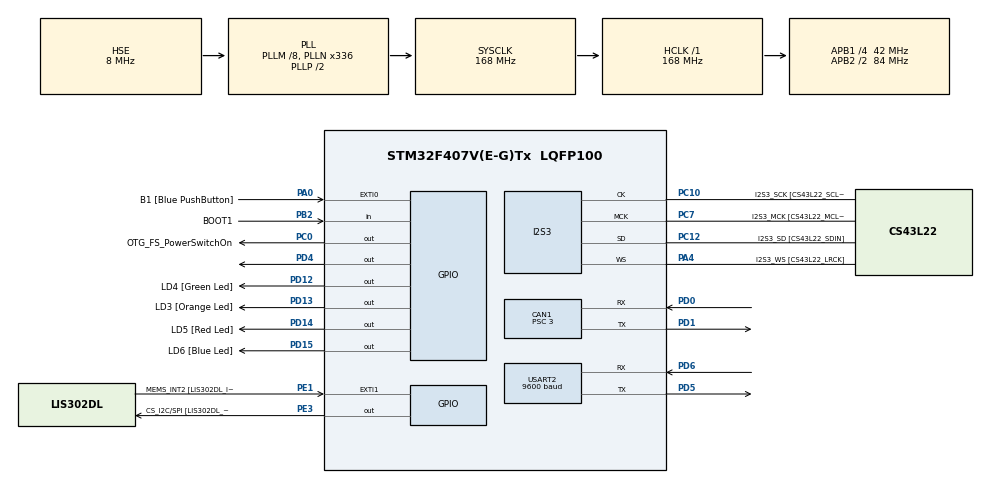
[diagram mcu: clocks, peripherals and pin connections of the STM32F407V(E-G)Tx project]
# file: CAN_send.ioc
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CAN1.BS1=CAN_BS1_10TQ
CAN1.BS2=CAN_BS2_3TQ
CAN1.CalculateBaudRate=1000000
CAN1.CalculateTimeBit=1000
CAN1.CalculateTimeQuantum=71.42857142857143
CAN1.Prescaler=3
I2S3.AudioFreq-Half_Duplex_Master=I2S_AUDIOFREQ_96K
I2S3.ErrorAudioFreq=-2.34 %
I2S3.ErrorAudioFreq-Half_Duplex_Master=0.8 %
I2S3.FullDuplexMode=I2S_FULLDUPLEXMODE_DISABLE
I2S3.Instance=SPI$Index
I2S3.RealAudioFreq=93.75 KHz
I2S3.RealAudioFreq-Half_Duplex_Master=96.774 KHz
I2S3.VirtualMode=I2S_MODE_MASTER
Mcu.Family=STM32F4
Mcu.Name=STM32F407V(E-G)Tx
Mcu.Package=LQFP100
NVIC.CAN1_RX0_IRQn=true\:0\:0\:false\:false\:true\:true\:true\:true
NVIC.CAN1_RX1_IRQn=true\:0\:0\:false\:false\:true\:true\:true\:true
NVIC.CAN1_TX_IRQn=true\:0\:0\:false\:false\:true\:true\:true\:true
NVIC.PriorityGroup=NVIC_PRIORITYGROUP_0
NVIC.USART2_IRQn=true\:0\:0\:false\:false\:true\:true\:true\:true
PA0-WKUP.GPIO_Label=B1 [Blue PushButton]
PA0-WKUP.GPIO_ModeDefaultEXTI=GPIO_MODE_EVT_RISING
PA0-WKUP.GPIO_PuPd=GPIO_NOPULL
PA0-WKUP.Signal=GPXTI0
PA10.GPIO_Label=OTG_FS_ID
PA10.GPIO_Mode=GPIO_MODE_AF_PP
PA10.GPIO_PuPd=GPIO_NOPULL
PA10.GPIO_Speed=GPIO_SPEED_FREQ_LOW
PA10.Signal=USB_OTG_FS_ID
PA11.GPIO_Label=OTG_FS_DM
PA11.GPIO_Mode=GPIO_MODE_AF_PP
PA11.GPIO_PuPd=GPIO_NOPULL
PA11.GPIO_Speed=GPIO_SPEED_FREQ_LOW
PA11.Signal=USB_OTG_FS_DM
PA12.GPIO_Label=OTG_FS_DP
PA12.GPIO_Mode=GPIO_MODE_AF_PP
PA12.GPIO_PuPd=GPIO_NOPULL
PA12.GPIO_Speed=GPIO_SPEED_FREQ_LOW
PA12.Signal=USB_OTG_FS_DP
PA13.GPIO_Label=SWDIO
PA13.Mode=Serial_Wire
PA13.Signal=SYS_JTMS-SWDIO
PA14.GPIO_Label=SWCLK
PA14.Mode=Serial_Wire
PA14.Signal=SYS_JTCK-SWCLK
PA4.GPIO_Label=I2S3_WS [CS43L22_LRCK]
PA4.GPIO_Mode=GPIO_MODE_AF_PP
PA4.GPIO_PuPd=GPIO_NOPULL
PA4.GPIO_Speed=GPIO_SPEED_FREQ_LOW
PA4.Mode=Half_Duplex_Master
PA4.Signal=I2S3_WS
PA5.GPIO_Label=SPI1_SCK [LIS302DL_SCL/SPC]
PA5.GPIO_Mode=GPIO_MODE_AF_PP
PA5.GPIO_PuPd=GPIO_NOPULL
PA5.GPIO_Speed=GPIO_SPEED_FREQ_LOW
PA5.Signal=SPI1_SCK
PA6.GPIO_Label=SPI1_MISO [LIS302DL_SDO]
PA6.GPIO_Mode=GPIO_MODE_AF_PP
PA6.GPIO_PuPd=GPIO_NOPULL
PA6.GPIO_Speed=GPIO_SPEED_FREQ_LOW
PA6.Signal=SPI1_MISO
PA7.GPIO_Label=SPI1_MOSI [LIS302DL_SDA/SDI/SDO]
PA7.GPIO_Mode=GPIO_MODE_AF_PP
PA7.GPIO_PuPd=GPIO_NOPULL
PA7.GPIO_Speed=GPIO_SPEED_FREQ_LOW
PA7.Signal=SPI1_MOSI
PA9.GPIO_Label=VBUS_FS
PA9.GPIO_Mode=GPIO_MODE_INPUT
PA9.GPIO_PuPd=GPIO_NOPULL
PA9.Signal=USB_OTG_FS_VBUS
PB10.GPIO_Label=CLK_IN [MP45DT02_CLK]
PB10.GPIO_Mode=GPIO_MODE_AF_PP
PB10.GPIO_PuPd=GPIO_NOPULL
PB10.GPIO_Speed=GPIO_SPEED_FREQ_LOW
PB10.Signal=I2S2_CK
PB2.GPIO_Label=BOOT1
PB2.GPIO_Mode=GPIO_MODE_INPUT
PB2.GPIO_PuPd=GPIO_NOPULL
PB2.Signal=GPIO_Input
PB3.GPIO_Label=SWO
PB3.Signal=SYS_JTDO-SWO
PB6.GPIO_Label=Audio_SCL [CS43L22_SCL]
PB6.GPIO_Mode=GPIO_MODE_AF_OD
PB6.GPIO_Pu=GPIO_PULLUP
PB6.GPIO_PuPd=GPIO_NOPULL
PB6.GPIO_Speed=GPIO_SPEED_FREQ_LOW
PB6.Signal=I2C1_SCL
PB9.GPIO_Label=Audio_SDA [CS43L22_SDA]
PB9.GPIO_Mode=GPIO_MODE_AF_OD
PB9.GPIO_Pu=GPIO_PULLUP
PB9.GPIO_PuPd=GPIO_NOPULL
PB9.GPIO_Speed=GPIO_SPEED_FREQ_LOW
PB9.Signal=I2C1_SDA
PC0.GPIO_Label=OTG_FS_PowerSwitchOn
PC0.GPIO_PuPd=GPIO_NOPULL
PC0.GPIO_Speed=GPIO_SPEED_FREQ_LOW
PC0.PinState=GPIO_PIN_SET
PC0.Signal=GPIO_Output
PC10.GPIO_Label=I2S3_SCK [CS43L22_SCLK]
PC10.GPIO_Mode=GPIO_MODE_AF_PP
PC10.GPIO_PuPd=GPIO_NOPULL
PC10.GPIO_Speed=GPIO_SPEED_FREQ_LOW
PC10.Mode=Half_Duplex_Master
PC10.Signal=I2S3_CK
PC12.GPIO_Label=I2S3_SD [CS43L22_SDIN]
PC12.GPIO_Mode=GPIO_MODE_AF_PP
PC12.GPIO_PuPd=GPIO_NOPULL
PC12.GPIO_Speed=GPIO_SPEED_FREQ_LOW
PC12.Mode=Half_Duplex_Master
PC12.Signal=I2S3_SD
PC14-OSC32_IN.GPIO_Label=PC14-OSC32_IN
PC14-OSC32_IN.Mode=LSE-External-Oscillator
PC14-OSC32_IN.Signal=RCC_OSC32_IN
PC15-OSC32_OUT.GPIO_Label=PC15-OSC32_OUT
PC15-OSC32_OUT.Mode=LSE-External-Oscillator
PC15-OSC32_OUT.Signal=RCC_OSC32_OUT
PC3.GPIO_Label=PDM_OUT [MP45DT02_DOUT]
PC3.GPIO_Mode=GPIO_MODE_AF_PP
PC3.GPIO_PuPd=GPIO_NOPULL
PC3.GPIO_Speed=GPIO_SPEED_FREQ_LOW
PC3.Signal=I2S2_SD
PC7.GPIO_Label=I2S3_MCK [CS43L22_MCLK]
PC7.GPIO_Mode=GPIO_MODE_AF_PP
PC7.GPIO_PuPd=GPIO_NOPULL
PC7.GPIO_Speed=GPIO_SPEED_FREQ_LOW
PC7.Mode=Master_Clock_Activated
PC7.Signal=I2S3_MCK
PD0.Mode=CAN_Activate
PD0.Signal=CAN1_RX
PD1.Mode=CAN_Activate
PD1.Signal=CAN1_TX
PD12.GPIO_Label=LD4 [Green Led]
PD12.GPIO_PuPd=GPIO_NOPULL
PD12.GPIO_Speed=GPIO_SPEED_FREQ_LOW
PD12.Signal=GPIO_Output
PD13.GPIO_Label=LD3 [Orange Led]
PD13.GPIO_PuPd=GPIO_NOPULL
PD13.GPIO_Speed=GPIO_SPEED_FREQ_LOW
PD13.Signal=GPIO_Output
PD14.GPIO_Label=LD5 [Red Led]
PD14.GPIO_PuPd=GPIO_NOPULL
PD14.GPIO_Speed=GPIO_SPEED_FREQ_LOW
PD14.Signal=GPIO_Output
PD15.GPIO_Label=LD6 [Blue Led]
PD15.GPIO_PuPd=GPIO_NOPULL
PD15.GPIO_Speed=GPIO_SPEED_FREQ_LOW
PD15.Signal=GPIO_Output
PD4.Signal=GPIO_Output
PD5.Mode=Asynchronous
PD5.Signal=USART2_TX
PD6.Mode=Asynchronous
PD6.Signal=USART2_RX
PE1.GPIO_Label=MEMS_INT2 [LIS302DL_INT2]
PE1.GPIO_ModeDefaultEXTI=GPIO_MODE_EVT_RISING
PE1.GPIO_PuPd=GPIO_NOPULL
PE1.Signal=GPXTI1
PE3.GPIO_Label=CS_I2C/SPI [LIS302DL_CS_I2C/SPI]
PE3.GPIO_PuPd=GPIO_NOPULL
PE3.GPIO_Speed=GPIO_SPEED_FREQ_LOW
PE3.Signal=GPIO_Output
PH0-OSC_IN.GPIO_Label=PH0-OSC_IN
PH0-OSC_IN.Mode=HSE-External-Oscillator
PH0-OSC_IN.Signal=RCC_OSC_IN
PH1-OSC_OUT.GPIO_Label=PH1-OSC_OUT
PH1-OSC_OUT.Mode=HSE-External-Oscillator
PH1-OSC_OUT.Signal=RCC_OSC_OUT
ProjectManager.HeapSize=0x200
ProjectManager.StackSize=0x400
ProjectManager.TargetToolchain=STM32CubeIDE
RCC.48MHZClocksFreq_Value=48000000
RCC.AHBFreq_Value=168000000
RCC.APB1CLKDivider=RCC_HCLK_DIV4
RCC.APB1Freq_Value=42000000
RCC.APB1TimFreq_Value=84000000
RCC.APB2CLKDivider=RCC_HCLK_DIV2
RCC.APB2Freq_Value=84000000
RCC.APB2TimFreq_Value=168000000
RCC.CortexFreq_Value=168000000
RCC.HCLKFreq_Value=168000000
RCC.HSE_VALUE=8000000
RCC.HSI_VALUE=16000000
RCC.PLLM=8
RCC.PLLN=336
RCC.PLLQ=7
RCC.PLLSourceVirtual=RCC_PLLSOURCE_HSE
RCC.SYSCLKFreq_VALUE=168000000
RCC.SYSCLKSource=RCC_SYSCLKSOURCE_PLLCLK
RCC.VCOOutputFreq_Value=336000000
USART2.BaudRate=9600
USART2.VirtualMode=VM_ASYNC
board=STM32F407G-DISC1

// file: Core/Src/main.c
/* USER CODE BEGIN Header */
/**
  ******************************************************************************
	Author: Phạm Văn Nam
	Started date: 17-06-2025
  ******************************************************************************
  */
/* USER CODE END Header */
#include "main.h"
#include "stdio.h"
#include "string.h"

/* USER CODE BEGIN PD */
// --- Cấu hình các frame trong CAN-TP ---
#define PCI_TYPE_SF 0x00
#define PCI_TYPE_FF 0x10
#define PCI_TYPE_CF 0x20
#define PCI_TYPE_FC 0x30
/* USER CODE END PD */

CAN_HandleTypeDef hcan1;

I2S_HandleTypeDef hi2s3;

UART_HandleTypeDef huart2;

/* USER CODE BEGIN PV */

static uint32_t g_wait_fc_start_tick = 0;

// --- CAN-TP Sender State Machine ---
typedef enum {
	TP_SENDER_IDLE,
	TP_SENDER_WAIT_FC,
	TP_SENDER_SEND
} TP_Sender_State_t;

volatile TP_Sender_State_t sender_state = TP_SENDER_IDLE;

// --- Cấu hình CAN ---
static uint32_t g_tx_mailbox;
static CAN_TxHeaderTypeDef g_tx_header = {
    .DLC = 8,
    .IDE = CAN_ID_STD,
    .RTR = CAN_RTR_DATA,
    .StdId = 0x123
};
#define CAN_TP_FC_RECEIVE_ID 0x125 // ID để nhận Flow Control

// --- Buffer và cờ báo từ UART ---
uint8_t g_uart_rx_byte = 0;
uint8_t g_uart_data_buffer[128];
uint16_t g_uart_data_len = 0;
volatile uint8_t g_uart_data_ready = 0;

// --- Quản lý dữ liệu và trạng thái phiên gửi ---
static uint8_t g_tp_data_to_send[128];
static uint16_t g_tp_total_len = 0;
static uint16_t g_tp_sent_index = 0;
static uint8_t  g_tp_seq_num = 0;

// --- Thông số Flow Control nhận được ---
static uint8_t  g_fc_block_size = 0;
static uint8_t  g_fc_st_min = 0;
static uint32_t g_last_cf_sent_tick = 0;
static uint8_t  g_cf_sent_in_block = 0;

/* USER CODE END PV */

void SystemClock_Config(void);
static void MX_GPIO_Init(void);
static void MX_I2S3_Init(void);
static void MX_CAN1_Init(void);
static void MX_USART2_UART_Init(void);

/* USER CODE BEGIN 0 */

// --- Các hàm helper để gửi frame ---
void print_frame(const char* label, uint8_t* frame, uint8_t len) {
    char msg[100];
    int offset = snprintf(msg, sizeof(msg), "%s (len=%u): ", label, len);
    for (uint8_t i = 0; i < len; i++) {
        offset += snprintf(msg + offset, sizeof(msg) - offset, "%02X ", frame[i]);
    }
    strncat(msg, "\r\n", sizeof(msg) - strlen(msg) - 1);
    HAL_UART_Transmit(&huart2, (uint8_t*)msg, strlen(msg), 100);
}

void can_tp_send_frame(uint8_t* data, uint8_t dlc) {
    g_tx_header.DLC = dlc;
    // Luôn kiểm tra kết quả trả v�? khi gửi CAN
    if (HAL_CAN_AddTxMessage(&hcan1, &g_tx_header, data, &g_tx_mailbox) != HAL_OK) {

    }
}

// --- Hàm quản lý State Machine chính ---
void can_tp_manager(void) {
    switch (sender_state) {
        case TP_SENDER_IDLE:
            // Nếu có dữ liệu mới từ UART và đang ở trạng thái nghỉ
            if (g_uart_data_ready) {
                // 1. Xóa c�? và copy dữ liệu để xử lý
                g_uart_data_ready = 0;
                memcpy(g_tp_data_to_send, g_uart_data_buffer, g_uart_data_len);
                g_tp_total_len = g_uart_data_len;

                // 2. Quyết định gửi SF hay FF
                if (g_tp_total_len <= 7) {
                    // --- Gửi Single Frame (SF) ---
                    uint8_t frame[8] = {0};
                    frame[0] = PCI_TYPE_SF | (g_tp_total_len & 0x0F);
                    memcpy(&frame[1], g_tp_data_to_send, g_tp_total_len);
                    print_frame("TX SF", frame, g_tp_total_len + 1);
                    can_tp_send_frame(frame, g_tp_total_len + 1);
                    // Gửi xong, vẫn ở trạng thái IDLE
                } else {
                    // --- Gửi First Frame (FF) ---
                    uint8_t frame[8] = {0};
                    frame[0] = PCI_TYPE_FF | ((g_tp_total_len >> 8) & 0x0F);
                    frame[1] = g_tp_total_len & 0xFF;
                    memcpy(&frame[2], g_tp_data_to_send, 6);
                    print_frame("TX FF", frame, 8);
                    can_tp_send_frame(frame, 8);

                    // 3. Cập nhật state và các biến cho phiên gửi
                    g_tp_sent_index = 6;
                    g_tp_seq_num = 1;
                    sender_state = TP_SENDER_WAIT_FC;
                    g_wait_fc_start_tick = HAL_GetTick(); // Bắt đầu đếm th�?i gian ch�? FC
                }
                g_uart_data_len = 0; // chỉ reset sau khi copy
            }
            break;

        case TP_SENDER_WAIT_FC:
            // Kiểm tra timeout cho FC
            if (HAL_GetTick() - g_wait_fc_start_tick >= 5000) {
                HAL_UART_Transmit(&huart2, (uint8_t*)"Timeout: Don't receive FC frame. \r\n", 36, 100);
                sender_state = TP_SENDER_IDLE; // Quay lại trạng thái nghỉ
            }
            break;

        case TP_SENDER_SEND:
        {
            // 1. Kiểm tra Separation Time (STmin)
            uint32_t st_min_ms = g_fc_st_min;
            if (st_min_ms > 0 && (HAL_GetTick() - g_last_cf_sent_tick < st_min_ms)) {
                return;
            }

            // 2. Kiểm tra Block Size (BS)
            if (g_fc_block_size > 0 && g_cf_sent_in_block >= g_fc_block_size) {
                // �?ã gửi hết block, phải ch�? FC tiếp theo
                sender_state = TP_SENDER_WAIT_FC;
                return;
            }

            // 3. Chuẩn bị và gửi CF
            uint16_t remaining = g_tp_total_len - g_tp_sent_index;
            if (remaining > 0) {
                uint8_t chunk_size = (remaining < 7) ? remaining : 7;
                uint8_t frame[8] = {0};
                frame[0] = PCI_TYPE_CF | (g_tp_seq_num & 0x0F);
                memcpy(&frame[1], &g_tp_data_to_send[g_tp_sent_index], chunk_size);

                char label[16];
                snprintf(label, sizeof(label), "TX CF [%d]", g_tp_seq_num);
                print_frame(label, frame, chunk_size + 1);
                can_tp_send_frame(frame, chunk_size + 1);

                // 4. Cập nhật các biến trạng thái
                g_last_cf_sent_tick = HAL_GetTick();
                g_tp_sent_index += chunk_size;
                g_tp_seq_num = (g_tp_seq_num + 1) % 16;
                g_cf_sent_in_block++;
            }

            // 5. Kiểm tra nếu đã gửi xong toàn bộ tin nhắn
            if (g_tp_sent_index >= g_tp_total_len) {
                HAL_UART_Transmit(&huart2, (uint8_t*)"TP Send Complete\r\n", 18, 100);
                sender_state = TP_SENDER_IDLE; // Quay lại trạng thái nghỉ
            }
            break;
        }
    }
}
/* USER CODE END 0 */

int main(void)
{

  /* MCU Configuration--------------------------------------------------------*/

  /* Reset of all peripherals, Initializes the Flash interface and the Systick. */
  HAL_Init();

  /* Configure the system clock */
  SystemClock_Config();

  /* Initialize all configured peripherals */
  MX_GPIO_Init();
  MX_I2S3_Init();
  MX_CAN1_Init();
  MX_USART2_UART_Init();
  /* USER CODE BEGIN 2 */
  CAN_FilterTypeDef filter_config = {
         .FilterBank = 0,
         .FilterMode = CAN_FILTERMODE_IDMASK,
         .FilterScale = CAN_FILTERSCALE_32BIT,
		 .FilterIdHigh = 0x0000,
		 .FilterIdLow = 0x0000,
		 .FilterMaskIdHigh = 0x0000,
		 .FilterMaskIdLow = 0x0000,
         .FilterFIFOAssignment = CAN_FILTER_FIFO0,
         .FilterActivation = ENABLE,
         .SlaveStartFilterBank = 14
     };

     if (HAL_CAN_ConfigFilter(&hcan1, &filter_config) != HAL_OK) {
         Error_Handler();
     }

     // 4. Bật CAN và kích hoạt ngắt FIFO0
     if (HAL_CAN_Start(&hcan1) != HAL_OK) {
         Error_Handler();
     }

     if (HAL_CAN_ActivateNotification(&hcan1, CAN_IT_RX_FIFO0_MSG_PENDING) != HAL_OK) {
         Error_Handler();
     }

     // 5. Bắt đầu nhận UART3 từng byte (gửi lệnh điều khiển)
     HAL_UART_Receive_IT(&huart2, &g_uart_rx_byte, 1);

  /* USER CODE END 2 */

  /* Infinite loop */
  /* USER CODE BEGIN WHILE */
  while (1)
  {
    // Hàm quản lý state machine sẽ được g�?i liên tục
    can_tp_manager();
    /* USER CODE END WHILE */

  }
}

void SystemClock_Config(void)
{
  RCC_OscInitTypeDef RCC_OscInitStruct = {0};
  RCC_ClkInitTypeDef RCC_ClkInitStruct = {0};

  /** Configure the main internal regulator output voltage
  */
  __HAL_RCC_PWR_CLK_ENABLE();
  __HAL_PWR_VOLTAGESCALING_CONFIG(PWR_REGULATOR_VOLTAGE_SCALE1);

  /** Initializes the RCC Oscillators according to the specified parameters
  * in the RCC_OscInitTypeDef structure.
  */
  RCC_OscInitStruct.OscillatorType = RCC_OSCILLATORTYPE_HSE;
  RCC_OscInitStruct.HSEState = RCC_HSE_ON;
  RCC_OscInitStruct.PLL.PLLState = RCC_PLL_ON;
  RCC_OscInitStruct.PLL.PLLSource = RCC_PLLSOURCE_HSE;
  RCC_OscInitStruct.PLL.PLLM = 8;
  RCC_OscInitStruct.PLL.PLLN = 336;
  RCC_OscInitStruct.PLL.PLLP = RCC_PLLP_DIV2;
  RCC_OscInitStruct.PLL.PLLQ = 7;
  if (HAL_RCC_OscConfig(&RCC_OscInitStruct) != HAL_OK)
  {
    Error_Handler();
  }

  /** Initializes the CPU, AHB and APB buses clocks
  */
  RCC_ClkInitStruct.ClockType = RCC_CLOCKTYPE_HCLK|RCC_CLOCKTYPE_SYSCLK
                              |RCC_CLOCKTYPE_PCLK1|RCC_CLOCKTYPE_PCLK2;
  RCC_ClkInitStruct.SYSCLKSource = RCC_SYSCLKSOURCE_PLLCLK;
  RCC_ClkInitStruct.AHBCLKDivider = RCC_SYSCLK_DIV1;
  RCC_ClkInitStruct.APB1CLKDivider = RCC_HCLK_DIV4;
  RCC_ClkInitStruct.APB2CLKDivider = RCC_HCLK_DIV2;

  if (HAL_RCC_ClockConfig(&RCC_ClkInitStruct, FLASH_LATENCY_5) != HAL_OK)
  {
    Error_Handler();
  }
}

static void MX_CAN1_Init(void)
{

  hcan1.Instance = CAN1;
  hcan1.Init.Prescaler = 3;
  hcan1.Init.Mode = CAN_MODE_NORMAL;
  hcan1.Init.SyncJumpWidth = CAN_SJW_1TQ;
  hcan1.Init.TimeSeg1 = CAN_BS1_10TQ;
  hcan1.Init.TimeSeg2 = CAN_BS2_3TQ;
  hcan1.Init.TimeTriggeredMode = DISABLE;
  hcan1.Init.AutoBusOff = DISABLE;
  hcan1.Init.AutoWakeUp = DISABLE;
  hcan1.Init.AutoRetransmission = DISABLE;
  hcan1.Init.ReceiveFifoLocked = DISABLE;
  hcan1.Init.TransmitFifoPriority = DISABLE;
  if (HAL_CAN_Init(&hcan1) != HAL_OK)
  {
    Error_Handler();
  }

}

static void MX_I2S3_Init(void)
{

  hi2s3.Instance = SPI3;
  hi2s3.Init.Mode = I2S_MODE_MASTER_TX;
  hi2s3.Init.Standard = I2S_STANDARD_PHILIPS;
  hi2s3.Init.DataFormat = I2S_DATAFORMAT_16B;
  hi2s3.Init.MCLKOutput = I2S_MCLKOUTPUT_ENABLE;
  hi2s3.Init.AudioFreq = I2S_AUDIOFREQ_96K;
  hi2s3.Init.CPOL = I2S_CPOL_LOW;
  hi2s3.Init.ClockSource = I2S_CLOCK_PLL;
  hi2s3.Init.FullDuplexMode = I2S_FULLDUPLEXMODE_DISABLE;
  if (HAL_I2S_Init(&hi2s3) != HAL_OK)
  {
    Error_Handler();
  }

}

static void MX_USART2_UART_Init(void)
{

  huart2.Instance = USART2;
  huart2.Init.BaudRate = 9600;
  huart2.Init.WordLength = UART_WORDLENGTH_8B;
  huart2.Init.StopBits = UART_STOPBITS_1;
  huart2.Init.Parity = UART_PARITY_NONE;
  huart2.Init.Mode = UART_MODE_TX_RX;
  huart2.Init.HwFlowCtl = UART_HWCONTROL_NONE;
  huart2.Init.OverSampling = UART_OVERSAMPLING_16;
  if (HAL_UART_Init(&huart2) != HAL_OK)
  {
    Error_Handler();
  }

}

static void MX_GPIO_Init(void)
{
  GPIO_InitTypeDef GPIO_InitStruct = {0};

  /* GPIO Ports Clock Enable */
  __HAL_RCC_GPIOE_CLK_ENABLE();
  __HAL_RCC_GPIOC_CLK_ENABLE();
  __HAL_RCC_GPIOH_CLK_ENABLE();
  __HAL_RCC_GPIOA_CLK_ENABLE();
  __HAL_RCC_GPIOB_CLK_ENABLE();
  __HAL_RCC_GPIOD_CLK_ENABLE();

  /*Configure GPIO pin Output Level */
  HAL_GPIO_WritePin(CS_I2C_SPI_GPIO_Port, CS_I2C_SPI_Pin, GPIO_PIN_RESET);

  /*Configure GPIO pin Output Level */
  HAL_GPIO_WritePin(OTG_FS_PowerSwitchOn_GPIO_Port, OTG_FS_PowerSwitchOn_Pin, GPIO_PIN_SET);

  /*Configure GPIO pin Output Level */
  HAL_GPIO_WritePin(GPIOD, LD4_Pin|LD3_Pin|LD5_Pin|LD6_Pin
                          |GPIO_PIN_4, GPIO_PIN_RESET);

  /*Configure GPIO pin : CS_I2C_SPI_Pin */
  GPIO_InitStruct.Pin = CS_I2C_SPI_Pin;
  GPIO_InitStruct.Mode = GPIO_MODE_OUTPUT_PP;
  GPIO_InitStruct.Pull = GPIO_NOPULL;
  GPIO_InitStruct.Speed = GPIO_SPEED_FREQ_LOW;
  HAL_GPIO_Init(CS_I2C_SPI_GPIO_Port, &GPIO_InitStruct);

  /*Configure GPIO pin : OTG_FS_PowerSwitchOn_Pin */
  GPIO_InitStruct.Pin = OTG_FS_PowerSwitchOn_Pin;
  GPIO_InitStruct.Mode = GPIO_MODE_OUTPUT_PP;
  GPIO_InitStruct.Pull = GPIO_NOPULL;
  GPIO_InitStruct.Speed = GPIO_SPEED_FREQ_LOW;
  HAL_GPIO_Init(OTG_FS_PowerSwitchOn_GPIO_Port, &GPIO_InitStruct);

  /*Configure GPIO pin : PDM_OUT_Pin */
  GPIO_InitStruct.Pin = PDM_OUT_Pin;
  GPIO_InitStruct.Mode = GPIO_MODE_AF_PP;
  GPIO_InitStruct.Pull = GPIO_NOPULL;
  GPIO_InitStruct.Speed = GPIO_SPEED_FREQ_LOW;
  GPIO_InitStruct.Alternate = GPIO_AF5_SPI2;
  HAL_GPIO_Init(PDM_OUT_GPIO_Port, &GPIO_InitStruct);

  /*Configure GPIO pin : B1_Pin */
  GPIO_InitStruct.Pin = B1_Pin;
  GPIO_InitStruct.Mode = GPIO_MODE_EVT_RISING;
  GPIO_InitStruct.Pull = GPIO_NOPULL;
  HAL_GPIO_Init(B1_GPIO_Port, &GPIO_InitStruct);

  /*Configure GPIO pins : SPI1_SCK_Pin SPI1_MISO_Pin SPI1_MOSI_Pin */
  GPIO_InitStruct.Pin = SPI1_SCK_Pin|SPI1_MISO_Pin|SPI1_MOSI_Pin;
  GPIO_InitStruct.Mode = GPIO_MODE_AF_PP;
  GPIO_InitStruct.Pull = GPIO_NOPULL;
  GPIO_InitStruct.Speed = GPIO_SPEED_FREQ_LOW;
  GPIO_InitStruct.Alternate = GPIO_AF5_SPI1;
  HAL_GPIO_Init(GPIOA, &GPIO_InitStruct);

  /*Configure GPIO pin : BOOT1_Pin */
  GPIO_InitStruct.Pin = BOOT1_Pin;
  GPIO_InitStruct.Mode = GPIO_MODE_INPUT;
  GPIO_InitStruct.Pull = GPIO_NOPULL;
  HAL_GPIO_Init(BOOT1_GPIO_Port, &GPIO_InitStruct);

  /*Configure GPIO pin : CLK_IN_Pin */
  GPIO_InitStruct.Pin = CLK_IN_Pin;
  GPIO_InitStruct.Mode = GPIO_MODE_AF_PP;
  GPIO_InitStruct.Pull = GPIO_NOPULL;
  GPIO_InitStruct.Speed = GPIO_SPEED_FREQ_LOW;
  GPIO_InitStruct.Alternate = GPIO_AF5_SPI2;
  HAL_GPIO_Init(CLK_IN_GPIO_Port, &GPIO_InitStruct);

  /*Configure GPIO pins : LD4_Pin LD3_Pin LD5_Pin LD6_Pin
                           PD4 */
  GPIO_InitStruct.Pin = LD4_Pin|LD3_Pin|LD5_Pin|LD6_Pin
                          |GPIO_PIN_4;
  GPIO_InitStruct.Mode = GPIO_MODE_OUTPUT_PP;
  GPIO_InitStruct.Pull = GPIO_NOPULL;
  GPIO_InitStruct.Speed = GPIO_SPEED_FREQ_LOW;
  HAL_GPIO_Init(GPIOD, &GPIO_InitStruct);

  /*Configure GPIO pin : VBUS_FS_Pin */
  GPIO_InitStruct.Pin = VBUS_FS_Pin;
  GPIO_InitStruct.Mode = GPIO_MODE_INPUT;
  GPIO_InitStruct.Pull = GPIO_NOPULL;
  HAL_GPIO_Init(VBUS_FS_GPIO_Port, &GPIO_InitStruct);

  /*Configure GPIO pins : OTG_FS_ID_Pin OTG_FS_DM_Pin OTG_FS_DP_Pin */
  GPIO_InitStruct.Pin = OTG_FS_ID_Pin|OTG_FS_DM_Pin|OTG_FS_DP_Pin;
  GPIO_InitStruct.Mode = GPIO_MODE_AF_PP;
  GPIO_InitStruct.Pull = GPIO_NOPULL;
  GPIO_InitStruct.Speed = GPIO_SPEED_FREQ_LOW;
  GPIO_InitStruct.Alternate = GPIO_AF10_OTG_FS;
  HAL_GPIO_Init(GPIOA, &GPIO_InitStruct);

  /*Configure GPIO pins : Audio_SCL_Pin Audio_SDA_Pin */
  GPIO_InitStruct.Pin = Audio_SCL_Pin|Audio_SDA_Pin;
  GPIO_InitStruct.Mode = GPIO_MODE_AF_OD;
  GPIO_InitStruct.Pull = GPIO_PULLUP;
  GPIO_InitStruct.Speed = GPIO_SPEED_FREQ_LOW;
  GPIO_InitStruct.Alternate = GPIO_AF4_I2C1;
  HAL_GPIO_Init(GPIOB, &GPIO_InitStruct);

  /*Configure GPIO pin : MEMS_INT2_Pin */
  GPIO_InitStruct.Pin = MEMS_INT2_Pin;
  GPIO_InitStruct.Mode = GPIO_MODE_EVT_RISING;
  GPIO_InitStruct.Pull = GPIO_NOPULL;
  HAL_GPIO_Init(MEMS_INT2_GPIO_Port, &GPIO_InitStruct);

}

/* USER CODE BEGIN 4 */
void HAL_UART_RxCpltCallback(UART_HandleTypeDef *huart) {
    if (huart->Instance == USART2) {
//        HAL_UART_Transmit(&huart2, &g_uart_rx_byte, 1, 10);  // In từng byte ra USART2 để xem luồng nhận

        // Chỉ xử lý nếu state machine đang ở trạng thái nghỉ
        if (sender_state == TP_SENDER_IDLE) {
            if (g_uart_rx_byte != '\n' && g_uart_rx_byte != '\r' && g_uart_data_len < sizeof(g_uart_data_buffer) - 1)
            {
				g_uart_data_buffer[g_uart_data_len++] = g_uart_rx_byte;
            } else {
                if (g_uart_data_len > 0) {
                    g_uart_data_ready = 1; // Báo cho main loop biết có dữ liệu
                }
            }
        }

        // Luôn kích hoạt lại ngắt để nhận byte tiếp theo
        HAL_UART_Receive_IT(&huart2, &g_uart_rx_byte, 1);
    }
}

void HAL_CAN_RxFifo0MsgPendingCallback(CAN_HandleTypeDef *hcan) {
    CAN_RxHeaderTypeDef rx_header;
    uint8_t rx_data[8];

    if (HAL_CAN_GetRxMessage(hcan, CAN_RX_FIFO0, &rx_header, rx_data) != HAL_OK) {
        return;
    }

    // Chỉ xử lý nếu đang ở trạng thái ch�? Flow Control và ID là chính xác
    if (sender_state == TP_SENDER_WAIT_FC && rx_header.StdId == CAN_TP_FC_RECEIVE_ID) {
        uint8_t pci_type = (rx_data[0] & 0xF0);
        uint8_t flow_status = (rx_data[0] & 0x0F);

     if (pci_type == PCI_TYPE_FC) {
    	 // In nội dung frame ra UART2
    	 print_frame("RX FC", rx_data, rx_header.DLC);

    	if (flow_status == 0x00) { // Continue To Send (CTS)
    	   g_fc_block_size = rx_data[1];
    	   g_fc_st_min = rx_data[2];

			 // Chuyển đổi nếu STmin là micro giây (0xF1 - 0xF9)
			 if (g_fc_st_min >= 0xF1 && g_fc_st_min <= 0xF9) {
			   g_fc_st_min = 1; // Giả định tối thiểu 1ms
			 }

    	 g_cf_sent_in_block = 0;
    	 sender_state = TP_SENDER_SEND;

    	} else if (flow_status == 0x01) { // Wait
    	  // Có thể xử lý thêm nếu muốn
    	  HAL_UART_Transmit(&huart2, (uint8_t*)"FC = WAIT\r\n", 11, 100);
    	} else if (flow_status == 0x02) { // Overflow/Abort
    	  HAL_UART_Transmit(&huart2, (uint8_t*)"FC = OVERFLOW/ABORT\r\n", 22, 100);
    	  sender_state = TP_SENDER_IDLE;
    	} else {
    	  HAL_UART_Transmit(&huart2, (uint8_t*)"FC = UNKNOWN\r\n", 15, 100);
        }
    }
}
}
/* USER CODE END 4 */

void Error_Handler(void)
{
  __disable_irq();
  while (1)
  {
  }
}
